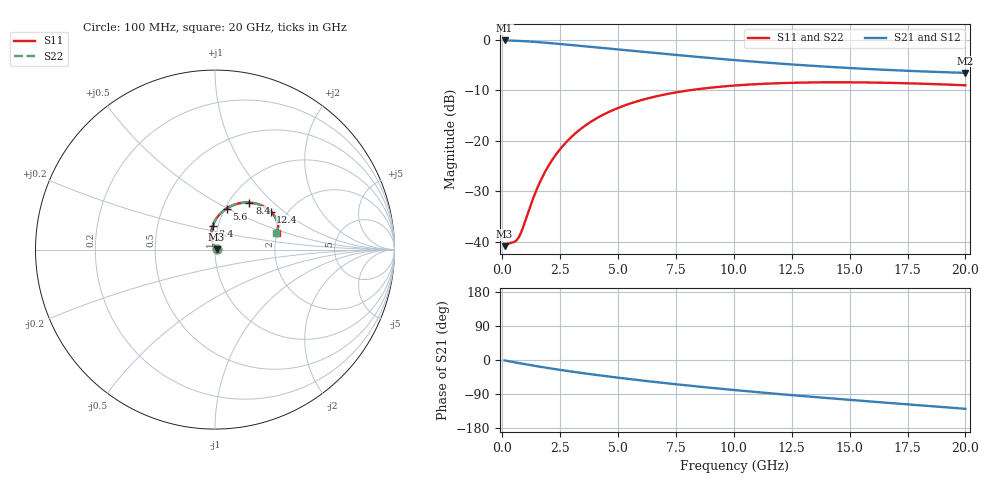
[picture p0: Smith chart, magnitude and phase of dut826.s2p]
! Touchstone file exported from HFSS 2024.1.0
!  File:  C:/UserFiles/LocalFiles/RDL_TSV_Batchsim/temp_RDL_TSV_826_1779916861.aedt
!  Generated:  05:36:15 AM May 28, 2026
!  Design:  RDL_TSV
!  Project:  temp_RDL_TSV_826_1779916861
!  Setup:  Setup1
!  Solution:  Sweep
! Variables:
!  dtsv = 6.77um
!  hbump = 3um
!  htsv = 61.1um
!  ldown = 350.08um
!  lrdl = 186.88um
!  p = 40
!  p1 = 57.87um
!  rhole = 10um
!  subl = 1797.76um
!  t = 450um
!  tdown = 2.66um
!  trdl = 4.65um
!  viad = 10um
!  wdown = 27.82um
!  wrdl = 23.42um
!  xbump = 18um
# GHz S MA R 50.000000
! Terminal data exported
! Port[1] = TM1_1_T1
! Port[2] = TM1_4_T1
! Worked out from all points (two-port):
!   200 points, 100 MHz to 20 GHz, reference 50 ohm
!   highest |S21| = -0.08 dB at 100 MHz (marker M1); lowest = -6.5 dB at 20 GHz (marker M2)
!   |S21| within 3 dB of the highest: start of sweep to 7.791 GHz
!   lowest |S11| = -40.9 dB at 100 MHz (marker M3), VSWR 1.02, Z = 50.9 + j0.164 ohm
!   |S11| at or under -10 dB: start of sweep to 8.043 GHz
!   |S22| runs from -40.9 to -8.4 dB; largest |S21 - S12| = 2.5e-14
!   S11 on the Smith chart (normalised r, x): 100 MHz: 1.02, +0.00; 3.4 GHz: 0.94, +0.25; 5.6 GHz: 1.02, +0.49; 8.4 GHz: 1.24, +0.73; 12.4 GHz: 1.65, +0.81; 20 GHz: 1.98, +0.43
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0.1  0.008998 10.3  0.9908 -1.2  0.9908 -1.2  0.008999 10.3
! Gamma 0 0 0 0
! Port Impedance 50 0 50 0
0.3  0.009621 26.4  0.9887 -3.5  0.9887 -3.5  0.009622 26.4
0.5  0.009876 43.4  0.9855 -5.7  0.9855 -5.7  0.009878 43.4
0.7  0.01091 64.8  0.9813 -8.0  0.9813 -8.0  0.01091 64.8
0.9  0.0139 84.4  0.9762 -10.2  0.9762 -10.2  0.01389 84.3
1.3  0.0256 104.1  0.9634 -14.4  0.9634 -14.4  0.02559 104.1
1.5  0.03346 107.5  0.956 -16.5  0.956 -16.5  0.03345 107.5
1.8  0.04691 108.8  0.944 -19.5  0.944 -19.5  0.04688 108.8
2.1  0.06173 107.8  0.9313 -22.4  0.9313 -22.4  0.0617 107.8
2.4  0.07744 105.7  0.9182 -25.2  0.9182 -25.2  0.0774 105.6
2.7  0.09365 102.9  0.9049 -27.9  0.9049 -27.9  0.0936 102.9
3.4  0.1318 95.7  0.8738 -34.0  0.8738 -34.0  0.1318 95.7
3.5  0.1372 94.7  0.8695 -34.8  0.8695 -34.8  0.1371 94.7
4.5  0.1885 84.5  0.8267 -42.8  0.8267 -42.8  0.1884 84.4
5.6  0.2376 74.3  0.782 -51.0  0.782 -51.0  0.2375 74.3
6.8  0.2813 64.7  0.7364 -59.4  0.7364 -59.4  0.2811 64.7
8.4  0.3245 53.9  0.6813 -69.7  0.6813 -69.7  0.3243 53.9
10.1  0.3546 44.5  0.6305 -79.7  0.6305 -79.7  0.3544 44.5
12.4  0.3758 34.4  0.5747 -92.2  0.5747 -92.2  0.3755 34.3
13.4  0.3797 30.7  0.5548 -97.3  0.5548 -97.3  0.3794 30.7
16.7  0.3761 21.3  0.5043 -113.3  0.5043 -113.3  0.3758 21.2
20  0.3556 15.4  0.4723 -128.8  0.4723 -128.8  0.3553 15.3
